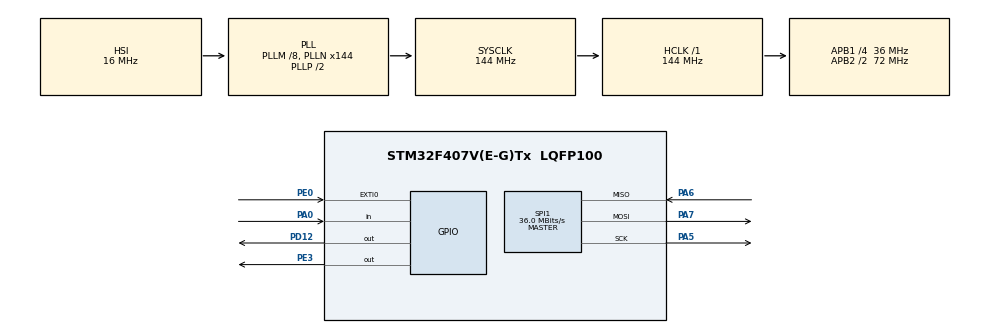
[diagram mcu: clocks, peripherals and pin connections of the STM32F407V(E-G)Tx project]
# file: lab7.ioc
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Mcu.Family=STM32F4
Mcu.Name=STM32F407V(E-G)Tx
Mcu.Package=LQFP100
NVIC.EXTI0_IRQn=true\:0\:0\:false\:false\:true\:true\:true\:true
NVIC.PriorityGroup=NVIC_PRIORITYGROUP_4
PA0-WKUP.Signal=GPIO_Input
PA13.Mode=Serial_Wire
PA13.Signal=SYS_JTMS-SWDIO
PA14.Mode=Serial_Wire
PA14.Signal=SYS_JTCK-SWCLK
PA5.Mode=Full_Duplex_Master
PA5.Signal=SPI1_SCK
PA6.Mode=Full_Duplex_Master
PA6.Signal=SPI1_MISO
PA7.Mode=Full_Duplex_Master
PA7.Signal=SPI1_MOSI
PD12.Signal=GPIO_Output
PE0.Signal=GPXTI0
PE3.Signal=GPIO_Output
ProjectManager.HeapSize=0x200
ProjectManager.StackSize=0x400
ProjectManager.TargetToolchain=STM32CubeIDE
RCC.48MHZClocksFreq_Value=72000000
RCC.AHBFreq_Value=144000000
RCC.APB1CLKDivider=RCC_HCLK_DIV4
RCC.APB1Freq_Value=36000000
RCC.APB1TimFreq_Value=72000000
RCC.APB2CLKDivider=RCC_HCLK_DIV2
RCC.APB2Freq_Value=72000000
RCC.APB2TimFreq_Value=144000000
RCC.CortexFreq_Value=144000000
RCC.HCLKFreq_Value=144000000
RCC.HSE_VALUE=25000000
RCC.HSI_VALUE=16000000
RCC.LSE_VALUE=32768
RCC.PLLM=8
RCC.PLLN=144
RCC.SYSCLKFreq_VALUE=144000000
RCC.SYSCLKSource=RCC_SYSCLKSOURCE_PLLCLK
RCC.VCOOutputFreq_Value=288000000
SPI1.CalculateBaudRate=36.0 MBits/s
SPI1.Direction=SPI_DIRECTION_2LINES
SPI1.Mode=SPI_MODE_MASTER
SPI1.VirtualType=VM_MASTER
board=custom

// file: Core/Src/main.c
/* USER CODE BEGIN Header */
/**
  ******************************************************************************
  * @file           : main.c
  * @brief          : Main program body
  ******************************************************************************
  * @attention
  *
  * Copyright (c) 2024 STMicroelectronics.
  * All rights reserved.
  *
  * This software is licensed under terms that can be found in the LICENSE file
  * in the root directory of this software component.
  * If no LICENSE file comes with this software, it is provided AS-IS.
  *
  ******************************************************************************
  */
/* USER CODE END Header */
#include "main.h"
#include "spi.h"
#include "gpio.h"
#include "MY_LIS3DSH.h"
#include "uart5.h"

/* USER CODE BEGIN PV */
LIS3DSH_DataRaw rawData;
LIS3DSH_InitTypeDef accInitDef = {
    .dataRate = LIS3DSH_DATARATE_100,
    .fullScale = LIS3DSH_FULLSCALE_2,
    .antiAliasingBW = LIS3DSH_FILTER_BW_200,
    .enableAxes = LIS3DSH_XYZ_ENABLE,
    .interruptEnable = true
};
bool interruptFlag = false;
float filterX = 0.0f, filterY = 0.0f, filterZ = 0.0f;
/* USER CODE END PV */

void SystemClock_Config(void);

/* USER CODE BEGIN 0 */
void ProcessAcceleration(void)
{
    // Simple noise filtering (moving average filter or similar can be implemented)
    const float FILTER_ALPHA = 0.1f;  // Filter coefficient

    // Apply filtering to X, Y, Z axes
    filterX = FILTER_ALPHA * rawData.x + (1 - FILTER_ALPHA) * filterX;
    filterY = FILTER_ALPHA * rawData.y + (1 - FILTER_ALPHA) * filterY;
    filterZ = FILTER_ALPHA * rawData.z + (1 - FILTER_ALPHA) * filterZ;

    // Simple threshold to detect movement (can be adjusted)
    if (filterX < 0.5f || filterY < 0.5f || filterZ < 0.5f) {
        HAL_GPIO_WritePin(GPIOD, GPIO_PIN_12, GPIO_PIN_SET);  // Turn on LED
    } else {
        HAL_GPIO_WritePin(GPIOD, GPIO_PIN_12, GPIO_PIN_RESET);  // Turn off LED
    }
}

/* USER CODE END 0 */

int main(void)
{

  /* MCU Configuration--------------------------------------------------------*/

  /* Reset of all peripherals, Initializes the Flash interface and the Systick. */
  HAL_Init();

  /* Configure the system clock */
  SystemClock_Config();

  /* Initialize all configured peripherals */
  MX_GPIO_Init();
  MX_SPI1_Init();

  /* Initialize LIS3DSH Accelerometer */
  LIS3DSH_Init(&hspi1, &accInitDef);

  /* Infinite loop */
  /* USER CODE BEGIN WHILE */
  while (1)
  {
    /* Polling for data */
	  if (LIS3DSH_PollDRDY(100)) {
	      rawData = LIS3DSH_GetDataRaw();  // Get raw accelerometer data
	      interruptFlag = true;
	  }

    if (interruptFlag) {
        interruptFlag = false;  // Clear the interrupt flag
        ProcessAcceleration();   // Process the acceleration data with filtering
    }

    /* USER CODE END WHILE */

  }
}

void SystemClock_Config(void)
{
  RCC_OscInitTypeDef RCC_OscInitStruct = {0};
  RCC_ClkInitTypeDef RCC_ClkInitStruct = {0};

  /** Configure the main internal regulator output voltage
  */
  __HAL_RCC_PWR_CLK_ENABLE();
  __HAL_PWR_VOLTAGESCALING_CONFIG(PWR_REGULATOR_VOLTAGE_SCALE1);

  /** Initializes the RCC Oscillators according to the specified parameters
  * in the RCC_OscInitTypeDef structure.
  */
  RCC_OscInitStruct.OscillatorType = RCC_OSCILLATORTYPE_HSI;
  RCC_OscInitStruct.HSIState = RCC_HSI_ON;
  RCC_OscInitStruct.HSICalibrationValue = RCC_HSICALIBRATION_DEFAULT;
  RCC_OscInitStruct.PLL.PLLState = RCC_PLL_ON;
  RCC_OscInitStruct.PLL.PLLSource = RCC_PLLSOURCE_HSI;
  RCC_OscInitStruct.PLL.PLLM = 8;
  RCC_OscInitStruct.PLL.PLLN = 144;
  RCC_OscInitStruct.PLL.PLLP = RCC_PLLP_DIV2;
  RCC_OscInitStruct.PLL.PLLQ = 4;
  if (HAL_RCC_OscConfig(&RCC_OscInitStruct) != HAL_OK)
  {
    Error_Handler();
  }

  /** Initializes the CPU, AHB and APB buses clocks
  */
  RCC_ClkInitStruct.ClockType = RCC_CLOCKTYPE_HCLK|RCC_CLOCKTYPE_SYSCLK
                              |RCC_CLOCKTYPE_PCLK1|RCC_CLOCKTYPE_PCLK2;
  RCC_ClkInitStruct.SYSCLKSource = RCC_SYSCLKSOURCE_PLLCLK;
  RCC_ClkInitStruct.AHBCLKDivider = RCC_SYSCLK_DIV1;
  RCC_ClkInitStruct.APB1CLKDivider = RCC_HCLK_DIV4;
  RCC_ClkInitStruct.APB2CLKDivider = RCC_HCLK_DIV2;

  if (HAL_RCC_ClockConfig(&RCC_ClkInitStruct, FLASH_LATENCY_4) != HAL_OK)
  {
    Error_Handler();
  }
}

void Error_Handler(void)
{
  __disable_irq();
  while (1)
  {
  }
}
